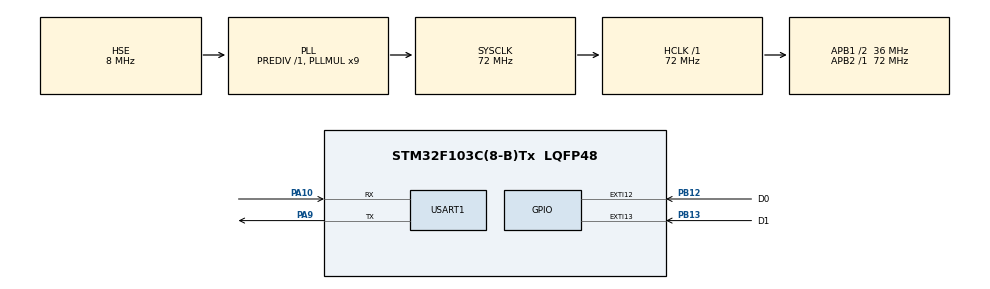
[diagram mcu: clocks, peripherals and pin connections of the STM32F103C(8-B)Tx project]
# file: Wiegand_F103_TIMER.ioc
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Mcu.Family=STM32F1
Mcu.Name=STM32F103C(8-B)Tx
Mcu.Package=LQFP48
NVIC.EXTI15_10_IRQn=true\:1\:0\:true\:false\:true\:true\:true
NVIC.PriorityGroup=NVIC_PRIORITYGROUP_4
NVIC.TIM4_IRQn=true\:2\:0\:true\:false\:true\:true\:true
PA10.Mode=Asynchronous
PA10.Signal=USART1_RX
PA13.Mode=Serial_Wire
PA13.Signal=SYS_JTMS-SWDIO
PA14.Mode=Serial_Wire
PA14.Signal=SYS_JTCK-SWCLK
PA9.Mode=Asynchronous
PA9.Signal=USART1_TX
PB12.GPIO_Label=D0
PB12.GPIO_ModeDefaultEXTI=GPIO_MODE_IT_FALLING
PB12.Signal=GPXTI12
PB13.GPIO_Label=D1
PB13.GPIO_ModeDefaultEXTI=GPIO_MODE_IT_FALLING
PB13.Signal=GPXTI13
PD0-OSC_IN.Mode=HSE-External-Oscillator
PD0-OSC_IN.Signal=RCC_OSC_IN
PD1-OSC_OUT.Mode=HSE-External-Oscillator
PD1-OSC_OUT.Signal=RCC_OSC_OUT
ProjectManager.HeapSize=0x200
ProjectManager.StackSize=0x400
ProjectManager.TargetToolchain=TrueSTUDIO
RCC.AHBFreq_Value=72000000
RCC.APB1CLKDivider=RCC_HCLK_DIV2
RCC.APB1Freq_Value=36000000
RCC.APB1TimFreq_Value=72000000
RCC.APB2Freq_Value=72000000
RCC.APB2TimFreq_Value=72000000
RCC.HCLKFreq_Value=72000000
RCC.PLLMUL=RCC_PLL_MUL9
RCC.PLLSourceVirtual=RCC_PLLSOURCE_HSE
RCC.SYSCLKFreq_VALUE=72000000
RCC.SYSCLKSource=RCC_SYSCLKSOURCE_PLLCLK
RCC.USBFreq_Value=72000000
TIM4.Channel-Output\ Compare4\ No\ Output=TIM_CHANNEL_4
TIM4.OCMode_4=TIM_OCMODE_TOGGLE
TIM4.Period=40000
TIM4.Prescaler=7199
TIM4.Pulse-Output\ Compare4\ No\ Output=39999
USART1.VirtualMode=VM_ASYNC
VP_TIM4_VS_OPM.Mode=OPM_bit
VP_TIM4_VS_no_output4.Mode=Output Compare4 No Output
board=custom

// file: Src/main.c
/* USER CODE BEGIN Header */
/**
  ******************************************************************************
  * @file           : main.c
  * @brief          : Main program body
  ******************************************************************************
  * @attention
  *
  * <h2><center>&copy; Copyright (c) 2020 STMicroelectronics.
  * All rights reserved.</center></h2>
  *
  * This software component is licensed by ST under BSD 3-Clause license,
  * the "License"; You may not use this file except in compliance with the
  * License. You may obtain a copy of the License at:
  *                        opensource.org/licenses/BSD-3-Clause
  *
  ******************************************************************************
  */
/* USER CODE END Header */

#include "main.h"

/* USER CODE BEGIN Includes */
#include "string.h"
#include "stdio.h"
#include "wiegand.h"
/* USER CODE END Includes */

/* USER CODE BEGIN PD */
#define D0        D0_Pin
#define D1        D1_Pin
/* USER CODE END PD */

TIM_HandleTypeDef htim4;

UART_HandleTypeDef huart1;

/* USER CODE BEGIN PV */
volatile uint8_t wig_flag_inrt = 1;
volatile uint8_t wig_flag_send = 0;
/* USER CODE END PV */

void SystemClock_Config(void);
static void MX_GPIO_Init(void);
static void MX_TIM4_Init(void);
static void MX_USART1_UART_Init(void);

/* USER CODE BEGIN 0 */
void HAL_GPIO_EXTI_Callback(uint16_t GPIO_Pin)
{
	if(wig_flag_inrt && GPIO_Pin == D0)
	{
		ReadD0();
	}
	else if(wig_flag_inrt && GPIO_Pin == D1)
	{
		ReadD1();
	}
}

void HAL_TIM_OC_DelayElapsedCallback(TIM_HandleTypeDef *htim)
{
	if(htim->Instance == TIM4)
	{
		//HAL_UART_Transmit(&huart1, (uint8_t*)"Interrupt\n", strlen("Interrupt\n"), 1000);
		wig_flag_send = 1;
	}
}

/* USER CODE END 0 */

int main(void)
{

  /* MCU Configuration--------------------------------------------------------*/

  /* Reset of all peripherals, Initializes the Flash interface and the Systick. */
  HAL_Init();

  /* Configure the system clock */
  SystemClock_Config();

  /* Initialize all configured peripherals */
  MX_GPIO_Init();
  MX_TIM4_Init();
  MX_USART1_UART_Init();
  /* USER CODE BEGIN 2 */

  uint8_t wig_dig[12] = {0,};
  memset(wig_dig, '\0', 12);
  uint8_t wdig = 0;
  uint32_t wcode = 0;
  int16_t wtype = 0;

  /* USER CODE END 2 */

  /* Infinite loop */
  /* USER CODE BEGIN WHILE */
  while (1)
  {
	  	if(wig_available())
	  	{
	  		wig_flag_inrt = 0;
	  		wcode = getCode();
	  		wtype = getWiegandType();
	  		wig_flag_inrt = 1;

	  		char str[64] = {0,};
	  		snprintf(str, 64, "HEX=0x%lX DEC=%lu, Protokol Wiegand-%d\n", wcode, wcode, wtype);
	  		HAL_UART_Transmit(&huart1, (uint8_t*)str, strlen((char*)str), 1000);

	  		if(wtype == 4 || wtype == 8)
	  		{
	  			if(wcode == 0x1B) // * сброс кнопок
	  			{
	  				HAL_UART_Transmit(&huart1, (uint8_t*)"Reset\n", strlen("Reset\n"), 1000);

	  				HAL_TIM_OC_Stop_IT(&htim4, TIM_CHANNEL_4);
	  				__HAL_TIM_SET_COUNTER(&htim4, 0x0000);

	  				wdig = 0;
	  				memset(wig_dig, '\0', 12);
	  			}
	  			else if(wcode == 0x0D) // # Enter
	  			{
	  				HAL_UART_Transmit(&huart1, (uint8_t*)"Enter\n", strlen("Enter\n"), 1000);

	  				HAL_TIM_OC_Stop_IT(&htim4, TIM_CHANNEL_4);
	  				__HAL_TIM_SET_COUNTER(&htim4, 0x0000);
	  				wig_flag_send = 1;
	  			}
	  			else
	  			{
	  				HAL_UART_Transmit(&huart1, (uint8_t*)"Reciv dig\n", strlen("Reciv dig\n"), 1000);

	  				HAL_TIM_OC_Start_IT(&htim4, TIM_CHANNEL_4);
	  				__HAL_TIM_SET_COUNTER(&htim4, 0x0000);

	  				sprintf((char*)&wig_dig[wdig++], "%d", (uint8_t)wcode);

	  				if(wdig > 11)
	  				{
	  					HAL_UART_Transmit(&huart1, (uint8_t*)"Buff overflow\n", strlen("Buff overflow\n"), 1000);

	  					HAL_TIM_OC_Stop_IT(&htim4, TIM_CHANNEL_4);
	  					__HAL_TIM_SET_COUNTER(&htim4, 0x0000);
	  					wdig = 0;
	  					memset(wig_dig, '\0', 12);
	  				}
	  			}
	  		}
	  		else if(wtype > 8)
	  		{
	  			HAL_UART_Transmit(&huart1, (uint8_t*)"Cart\n", strlen("Cart\n"), 1000);

	  			HAL_TIM_OC_Stop_IT(&htim4, TIM_CHANNEL_4);
	  			__HAL_TIM_SET_COUNTER(&htim4, 0x0000);

	  			wdig = 0;
	  			memset(wig_dig, '\0', 12);

	  			snprintf(str, 32, "Cart HEX=%lX DEC=%lu\n", wcode, wcode);
	  			HAL_UART_Transmit(&huart1, (uint8_t*)str, strlen((char*)str), 1000);
	  		}
	  	}

		if(wig_flag_send == 1)
		{
			wig_flag_send = 0;

			HAL_UART_Transmit(&huart1, (uint8_t*)"Array digs\n", strlen("Array digs\n"), 1000);

			// цифры
			char str[32] = {0,};
			snprintf(str, 32, "ArrayDig %s\n", wig_dig);
			HAL_UART_Transmit(&huart1, (uint8_t*)str, strlen((char*)str), 1000);

			wdig = 0;
			memset(wig_dig, '\0', 12);
		}

    /* USER CODE END WHILE */

  }
}

void SystemClock_Config(void)
{
  RCC_OscInitTypeDef RCC_OscInitStruct = {0};
  RCC_ClkInitTypeDef RCC_ClkInitStruct = {0};

  /** Initializes the CPU, AHB and APB busses clocks
  */
  RCC_OscInitStruct.OscillatorType = RCC_OSCILLATORTYPE_HSE;
  RCC_OscInitStruct.HSEState = RCC_HSE_ON;
  RCC_OscInitStruct.HSEPredivValue = RCC_HSE_PREDIV_DIV1;
  RCC_OscInitStruct.HSIState = RCC_HSI_ON;
  RCC_OscInitStruct.PLL.PLLState = RCC_PLL_ON;
  RCC_OscInitStruct.PLL.PLLSource = RCC_PLLSOURCE_HSE;
  RCC_OscInitStruct.PLL.PLLMUL = RCC_PLL_MUL9;
  if (HAL_RCC_OscConfig(&RCC_OscInitStruct) != HAL_OK)
  {
    Error_Handler();
  }
  /** Initializes the CPU, AHB and APB busses clocks
  */
  RCC_ClkInitStruct.ClockType = RCC_CLOCKTYPE_HCLK|RCC_CLOCKTYPE_SYSCLK
                              |RCC_CLOCKTYPE_PCLK1|RCC_CLOCKTYPE_PCLK2;
  RCC_ClkInitStruct.SYSCLKSource = RCC_SYSCLKSOURCE_PLLCLK;
  RCC_ClkInitStruct.AHBCLKDivider = RCC_SYSCLK_DIV1;
  RCC_ClkInitStruct.APB1CLKDivider = RCC_HCLK_DIV2;
  RCC_ClkInitStruct.APB2CLKDivider = RCC_HCLK_DIV1;

  if (HAL_RCC_ClockConfig(&RCC_ClkInitStruct, FLASH_LATENCY_2) != HAL_OK)
  {
    Error_Handler();
  }
}

static void MX_TIM4_Init(void)
{

  TIM_MasterConfigTypeDef sMasterConfig = {0};
  TIM_OC_InitTypeDef sConfigOC = {0};

  htim4.Instance = TIM4;
  htim4.Init.Prescaler = 7199;
  htim4.Init.CounterMode = TIM_COUNTERMODE_UP;
  htim4.Init.Period = 40000;
  htim4.Init.ClockDivision = TIM_CLOCKDIVISION_DIV1;
  htim4.Init.AutoReloadPreload = TIM_AUTORELOAD_PRELOAD_DISABLE;
  if (HAL_TIM_OC_Init(&htim4) != HAL_OK)
  {
    Error_Handler();
  }
  if (HAL_TIM_OnePulse_Init(&htim4, TIM_OPMODE_SINGLE) != HAL_OK)
  {
    Error_Handler();
  }
  sMasterConfig.MasterOutputTrigger = TIM_TRGO_RESET;
  sMasterConfig.MasterSlaveMode = TIM_MASTERSLAVEMODE_DISABLE;
  if (HAL_TIMEx_MasterConfigSynchronization(&htim4, &sMasterConfig) != HAL_OK)
  {
    Error_Handler();
  }
  sConfigOC.OCMode = TIM_OCMODE_TOGGLE;
  sConfigOC.Pulse = 39999;
  sConfigOC.OCPolarity = TIM_OCPOLARITY_HIGH;
  sConfigOC.OCFastMode = TIM_OCFAST_DISABLE;
  if (HAL_TIM_OC_ConfigChannel(&htim4, &sConfigOC, TIM_CHANNEL_4) != HAL_OK)
  {
    Error_Handler();
  }

}

static void MX_USART1_UART_Init(void)
{

  huart1.Instance = USART1;
  huart1.Init.BaudRate = 115200;
  huart1.Init.WordLength = UART_WORDLENGTH_8B;
  huart1.Init.StopBits = UART_STOPBITS_1;
  huart1.Init.Parity = UART_PARITY_NONE;
  huart1.Init.Mode = UART_MODE_TX_RX;
  huart1.Init.HwFlowCtl = UART_HWCONTROL_NONE;
  huart1.Init.OverSampling = UART_OVERSAMPLING_16;
  if (HAL_UART_Init(&huart1) != HAL_OK)
  {
    Error_Handler();
  }

}

static void MX_GPIO_Init(void)
{
  GPIO_InitTypeDef GPIO_InitStruct = {0};

  /* GPIO Ports Clock Enable */
  __HAL_RCC_GPIOD_CLK_ENABLE();
  __HAL_RCC_GPIOB_CLK_ENABLE();
  __HAL_RCC_GPIOA_CLK_ENABLE();

  /*Configure GPIO pins : D0_Pin D1_Pin */
  GPIO_InitStruct.Pin = D0_Pin|D1_Pin;
  GPIO_InitStruct.Mode = GPIO_MODE_IT_FALLING;
  GPIO_InitStruct.Pull = GPIO_NOPULL;
  HAL_GPIO_Init(GPIOB, &GPIO_InitStruct);

  /* EXTI interrupt init*/
  HAL_NVIC_SetPriority(EXTI15_10_IRQn, 1, 0);
  HAL_NVIC_EnableIRQ(EXTI15_10_IRQn);

}

void Error_Handler(void)
{
}

/************************ (C) COPYRIGHT STMicroelectronics *****END OF FILE****/
